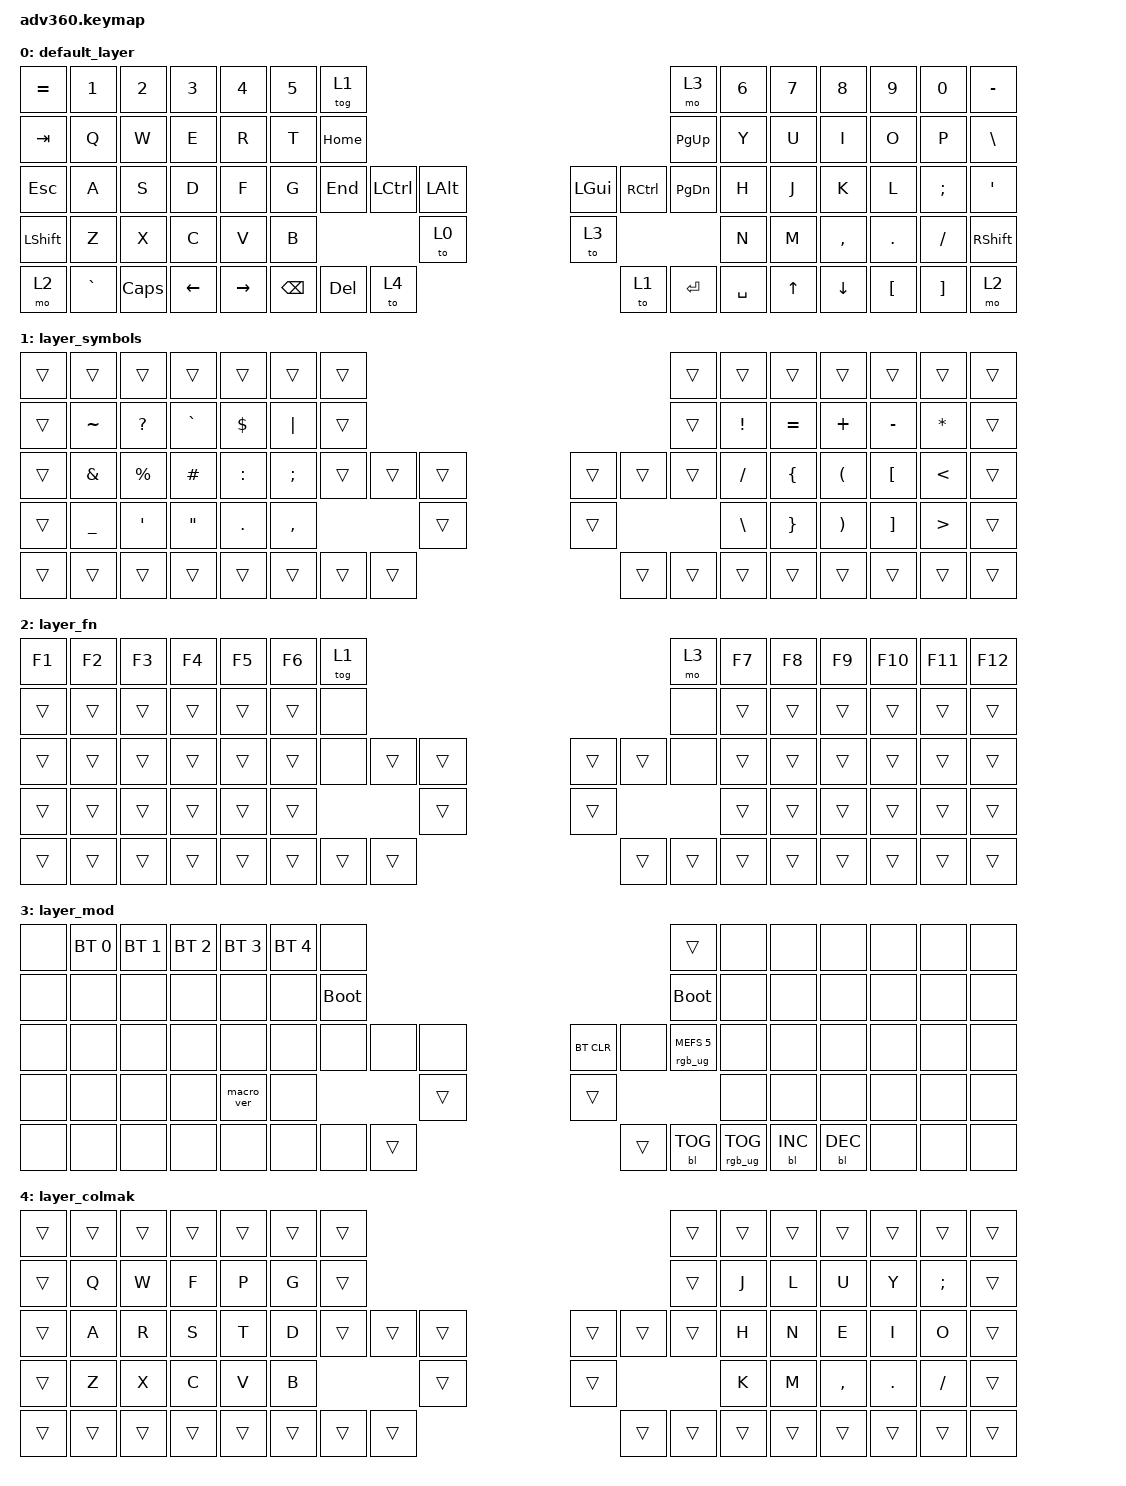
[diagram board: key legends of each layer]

/*
 * Copyright (c) 2020 The ZMK Contributors
 *
 * SPDX-License-Identifier: MIT
 */


/* THIS FILE WAS GENERATED!
 *
 * This file was generated automatically. You may or may not want to
 * edit it directly.
 */

#include <behaviors.dtsi>
#include <dt-bindings/zmk/keys.h>
#include <dt-bindings/zmk/bt.h>
#include <dt-bindings/zmk/rgb.h>
#include <dt-bindings/zmk/backlight.h>

/ {
  behaviors {
    #include "macros.dtsi"
    #include "version.dtsi"

    hm: homerow_mods {
        compatible = "zmk,behavior-hold-tap";
        label = "HOMEROW_MODS";
        #binding-cells = <2>;
        tapping-term-ms = <200>;
        quick_tap_ms = <175>;
        flavor = "tap-preferred";
        bindings = <&kp>, <&kp>;
    };
  };

    keymap {
        compatible = "zmk,keymap";


        default_layer {
            bindings = <
 &kp EQUAL     &kp N1    &kp N2    &kp N3     &kp N4  &kp N5              &tog 1                                                                    &mo 3  &kp N6  &kp N7     &kp N8    &kp N9    &kp N0  &kp MINUS
   &kp TAB      &kp Q     &kp W     &kp E      &kp R   &kp T            &kp HOME                                                                &kp PG_UP   &kp Y   &kp U      &kp I     &kp O     &kp P   &kp BSLH
   &kp ESC      &kp A     &kp S     &kp D      &kp F   &kp G             &kp END  &kp LCTRL  &kp LALT                  &kp LGUI  &kp RCTRL  &kp PAGE_DOWN   &kp H   &kp J      &kp K     &kp L  &kp SEMI    &kp SQT
 &kp LSHFT      &kp Z     &kp X     &kp C      &kp V   &kp B                                    &to 0                     &to 3                             &kp N   &kp M  &kp COMMA   &kp DOT  &kp FSLH  &kp RSHFT
     &mo 2  &kp GRAVE  &kp CAPS  &kp LEFT  &kp RIGHT                    &kp BSPC    &kp DEL     &to 4                     &to 1  &kp ENTER      &kp SPACE          &kp UP   &kp DOWN  &kp LBKT  &kp RBKT      &mo 2
            >;
        };

        layer_symbols {
            bindings = <
 &trans          &trans            &trans             &trans      &trans         &trans            &trans                                                  &trans           &trans           &trans                 &trans             &trans            &trans  &trans
 &trans       &kp TILDE      &kp QUESTION          &kp GRAVE  &kp DOLLAR       &kp PIPE            &trans                                                  &trans  &kp EXCLAMATION        &kp EQUAL               &kp PLUS          &kp MINUS          &kp STAR  &trans
 &trans   &kp AMPERSAND       &kp PERCENT          &kp POUND   &kp COLON  &kp SEMICOLON            &trans  &trans  &trans                  &trans  &trans  &trans        &kp SLASH   &kp LEFT_BRACE   &kp LEFT_PARENTHESIS   &kp LEFT_BRACKET     &kp LESS_THAN  &trans
 &trans  &kp UNDERSCORE  &kp SINGLE_QUOTE  &kp DOUBLE_QUOTES  &kp PERIOD      &kp COMMA                            &trans                  &trans                    &kp BACKSLASH  &kp RIGHT_BRACE  &kp RIGHT_PARENTHESIS  &kp RIGHT_BRACKET  &kp GREATER_THAN  &trans
 &trans          &trans            &trans             &trans      &trans                           &trans  &trans  &trans                  &trans  &trans  &trans                            &trans                 &trans             &trans            &trans  &trans
            >;
        };

        layer_fn {
            bindings = <
 &kp F1  &kp F2  &kp F3  &kp F4  &kp F5  &kp F6            &tog 1                                                   &mo 3  &kp F7  &kp F8  &kp F9  &kp F10  &kp F11  &kp F12
 &trans  &trans  &trans  &trans  &trans  &trans             &none                                                   &none  &trans  &trans  &trans   &trans   &trans   &trans
 &trans  &trans  &trans  &trans  &trans  &trans             &none  &trans  &trans                  &trans  &trans   &none  &trans  &trans  &trans   &trans   &trans   &trans
 &trans  &trans  &trans  &trans  &trans  &trans                            &trans                  &trans                  &trans  &trans  &trans   &trans   &trans   &trans
 &trans  &trans  &trans  &trans  &trans                    &trans  &trans  &trans                  &trans  &trans  &trans          &trans  &trans   &trans   &trans   &trans
            >;
        };

        layer_mod {
            bindings = <
  &none  &bt BT_SEL 0  &bt BT_SEL 1  &bt BT_SEL 2  &bt BT_SEL 3  &bt BT_SEL 4                  &none                                                                          &trans   &none       &none       &none   &none   &none   &none
  &none         &none         &none         &none         &none         &none            &bootloader                                                                     &bootloader   &none       &none       &none   &none   &none   &none
  &none         &none         &none         &none         &none         &none                  &none   &none   &none                  &bt BT_CLR       &none  &rgb_ug RGB_MEFS_CMD 5   &none       &none       &none   &none   &none   &none
  &none         &none         &none         &none    &macro_ver         &none                                 &trans                      &trans                                       &none       &none       &none   &none   &none   &none
  &none         &none         &none         &none         &none                                &none   &none  &trans                      &trans  &bl BL_TOG         &rgb_ug RGB_TOG          &bl BL_INC  &bl BL_DEC   &none   &none   &none
            >;
        };

        layer_colmak {
            bindings = <
 &trans  &trans  &trans  &trans  &trans  &trans            &trans                                                  &trans  &trans  &trans     &trans      &trans         &trans  &trans
 &trans   &kp Q   &kp W   &kp F   &kp P   &kp G            &trans                                                  &trans   &kp J   &kp L      &kp U       &kp Y  &kp SEMICOLON  &trans
 &trans   &kp A   &kp R   &kp S   &kp T   &kp D            &trans  &trans  &trans                  &trans  &trans  &trans   &kp H   &kp N      &kp E       &kp I          &kp O  &trans
 &trans   &kp Z   &kp X   &kp C   &kp V   &kp B                            &trans                  &trans                   &kp K   &kp M  &kp COMMA  &kp PERIOD      &kp SLASH  &trans
 &trans  &trans  &trans  &trans  &trans                    &trans  &trans  &trans                  &trans  &trans  &trans          &trans     &trans      &trans         &trans  &trans
            >;
        };

    };
};
